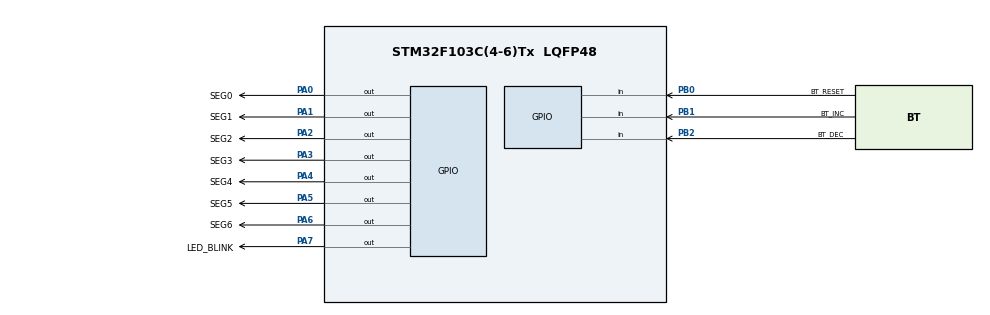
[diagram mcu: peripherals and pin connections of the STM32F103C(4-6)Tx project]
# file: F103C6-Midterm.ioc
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Mcu.Family=STM32F1
Mcu.Name=STM32F103C(4-6)Tx
Mcu.Package=LQFP48
NVIC.PriorityGroup=NVIC_PRIORITYGROUP_4
NVIC.TIM2_IRQn=true\:0\:0\:false\:false\:true\:true\:true\:true
PA0-WKUP.GPIO_Label=SEG0
PA0-WKUP.Signal=GPIO_Output
PA1.GPIO_Label=SEG1
PA1.Signal=GPIO_Output
PA2.GPIO_Label=SEG2
PA2.Signal=GPIO_Output
PA3.GPIO_Label=SEG3
PA3.Signal=GPIO_Output
PA4.GPIO_Label=SEG4
PA4.Signal=GPIO_Output
PA5.GPIO_Label=SEG5
PA5.Signal=GPIO_Output
PA6.GPIO_Label=SEG6
PA6.Signal=GPIO_Output
PA7.GPIO_Label=LED_BLINK
PA7.Signal=GPIO_Output
PB0.GPIO_Label=BT_RESET
PB0.Signal=GPIO_Input
PB1.GPIO_Label=BT_INC
PB1.Signal=GPIO_Input
PB2.GPIO_Label=BT_DEC
PB2.Signal=GPIO_Input
ProjectManager.HeapSize=0x200
ProjectManager.StackSize=0x400
ProjectManager.TargetToolchain=STM32CubeIDE
RCC.APB1Freq_Value=8000000
RCC.APB2Freq_Value=8000000
TIM2.Period=10 - 1
TIM2.Prescaler=8000 - 1
VP_TIM2_VS_ClockSourceINT.Mode=Internal
board=custom

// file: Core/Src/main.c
/* USER CODE BEGIN Header */
/**
 ******************************************************************************
 * @file           : main.c
 * @brief          : Main program body
 ******************************************************************************
 * @attention
 *
 * Copyright (c) 2022 STMicroelectronics.
 * All rights reserved.
 *
 * This software is licensed under terms that can be found in the LICENSE file
 * in the root directory of this software component.
 * If no LICENSE file comes with this software, it is provided AS-IS.
 *
 ******************************************************************************
 */
/* USER CODE END Header */
#include "main.h"

/* USER CODE BEGIN Includes */
#include "User/global_object.h"
/* USER CODE END Includes */

TIM_HandleTypeDef htim2;

void SystemClock_Config(void);
static void MX_GPIO_Init(void);
static void MX_TIM2_Init(void);

int main(void)
{

	/* MCU Configuration--------------------------------------------------------*/

	/* Reset of all peripherals, Initializes the Flash interface and the Systick. */
	HAL_Init();

	/* Configure the system clock */
	SystemClock_Config();

	/* Initialize all configured peripherals */
	MX_GPIO_Init();
	MX_TIM2_Init();
	/* USER CODE BEGIN 2 */
	HAL_TIM_Base_Start_IT(&htim2);
	/* USER CODE END 2 */

	/* Infinite loop */
	/* USER CODE BEGIN WHILE */
	while (1)
	{
		if (software_timer_is_set(&led_blink))
		{
			software_timer_set_duration_ms(&led_blink, LED_BLINK_PERIOD_MS);
			HAL_GPIO_TogglePin(LED_BLINK_GPIO_Port, LED_BLINK_Pin);
		}
		FSM_state_t next_state = FSM_get_next_state(&fsm_count,
				FSM_count_get_next_state);
		FSM_set_to_next_state(&fsm_count, next_state,
				FSM_count_set_to_next_state);
		FSM_do_action_within_state(&fsm_count,
				FSM_count_do_action_within_state);
		/* USER CODE END WHILE */

	}
}

void SystemClock_Config(void)
{
	RCC_OscInitTypeDef RCC_OscInitStruct =
	{ 0 };
	RCC_ClkInitTypeDef RCC_ClkInitStruct =
	{ 0 };

	/** Initializes the RCC Oscillators according to the specified parameters
	 * in the RCC_OscInitTypeDef structure.
	 */
	RCC_OscInitStruct.OscillatorType = RCC_OSCILLATORTYPE_HSI;
	RCC_OscInitStruct.HSIState = RCC_HSI_ON;
	RCC_OscInitStruct.HSICalibrationValue = RCC_HSICALIBRATION_DEFAULT;
	RCC_OscInitStruct.PLL.PLLState = RCC_PLL_NONE;
	if (HAL_RCC_OscConfig(&RCC_OscInitStruct) != HAL_OK)
	{
		Error_Handler();
	}

	/** Initializes the CPU, AHB and APB buses clocks
	 */
	RCC_ClkInitStruct.ClockType = RCC_CLOCKTYPE_HCLK | RCC_CLOCKTYPE_SYSCLK
			| RCC_CLOCKTYPE_PCLK1 | RCC_CLOCKTYPE_PCLK2;
	RCC_ClkInitStruct.SYSCLKSource = RCC_SYSCLKSOURCE_HSI;
	RCC_ClkInitStruct.AHBCLKDivider = RCC_SYSCLK_DIV1;
	RCC_ClkInitStruct.APB1CLKDivider = RCC_HCLK_DIV1;
	RCC_ClkInitStruct.APB2CLKDivider = RCC_HCLK_DIV1;

	if (HAL_RCC_ClockConfig(&RCC_ClkInitStruct, FLASH_LATENCY_0) != HAL_OK)
	{
		Error_Handler();
	}
}

static void MX_TIM2_Init(void)
{

	TIM_ClockConfigTypeDef sClockSourceConfig =
	{ 0 };
	TIM_MasterConfigTypeDef sMasterConfig =
	{ 0 };

	htim2.Instance = TIM2;
	htim2.Init.Prescaler = 8000 - 1;
	htim2.Init.CounterMode = TIM_COUNTERMODE_UP;
	htim2.Init.Period = 10 - 1;
	htim2.Init.ClockDivision = TIM_CLOCKDIVISION_DIV1;
	htim2.Init.AutoReloadPreload = TIM_AUTORELOAD_PRELOAD_DISABLE;
	if (HAL_TIM_Base_Init(&htim2) != HAL_OK)
	{
		Error_Handler();
	}
	sClockSourceConfig.ClockSource = TIM_CLOCKSOURCE_INTERNAL;
	if (HAL_TIM_ConfigClockSource(&htim2, &sClockSourceConfig) != HAL_OK)
	{
		Error_Handler();
	}
	sMasterConfig.MasterOutputTrigger = TIM_TRGO_RESET;
	sMasterConfig.MasterSlaveMode = TIM_MASTERSLAVEMODE_DISABLE;
	if (HAL_TIMEx_MasterConfigSynchronization(&htim2, &sMasterConfig) != HAL_OK)
	{
		Error_Handler();
	}

}

static void MX_GPIO_Init(void)
{
	GPIO_InitTypeDef GPIO_InitStruct =
	{ 0 };

	/* GPIO Ports Clock Enable */
	__HAL_RCC_GPIOA_CLK_ENABLE();
	__HAL_RCC_GPIOB_CLK_ENABLE();

	/*Configure GPIO pin Output Level */
	HAL_GPIO_WritePin(GPIOA,
			SEG0_Pin | SEG1_Pin | SEG2_Pin | SEG3_Pin | SEG4_Pin | SEG5_Pin
					| SEG6_Pin | LED_BLINK_Pin, GPIO_PIN_RESET);

	/*Configure GPIO pins : SEG0_Pin SEG1_Pin SEG2_Pin SEG3_Pin
	 SEG4_Pin SEG5_Pin SEG6_Pin LED_BLINK_Pin */
	GPIO_InitStruct.Pin = SEG0_Pin | SEG1_Pin | SEG2_Pin | SEG3_Pin | SEG4_Pin
			| SEG5_Pin | SEG6_Pin | LED_BLINK_Pin;
	GPIO_InitStruct.Mode = GPIO_MODE_OUTPUT_PP;
	GPIO_InitStruct.Pull = GPIO_NOPULL;
	GPIO_InitStruct.Speed = GPIO_SPEED_FREQ_LOW;
	HAL_GPIO_Init(GPIOA, &GPIO_InitStruct);

	/*Configure GPIO pins : BT_RESET_Pin BT_INC_Pin BT_DEC_Pin */
	GPIO_InitStruct.Pin = BT_RESET_Pin | BT_INC_Pin | BT_DEC_Pin;
	GPIO_InitStruct.Mode = GPIO_MODE_INPUT;
	GPIO_InitStruct.Pull = GPIO_NOPULL;
	HAL_GPIO_Init(GPIOB, &GPIO_InitStruct);

}

/* USER CODE BEGIN 4 */
void HAL_TIM_PeriodElapsedCallback(TIM_HandleTypeDef *htim)
{
	// this function run every 10ms due to timer 2 update
	if (htim->Instance == TIM2)
	{
		software_timer_update_after_tick(&timer_10s);
		software_timer_update_after_tick(&led_blink);

		button_poll_and_update_state(&button_reset);
		button_poll_and_update_state(&button_inc);
		button_poll_and_update_state(&button_dec);
	}
}
/* USER CODE END 4 */

void Error_Handler(void)
{
	__disable_irq();
	while (1)
	{
	}
}
